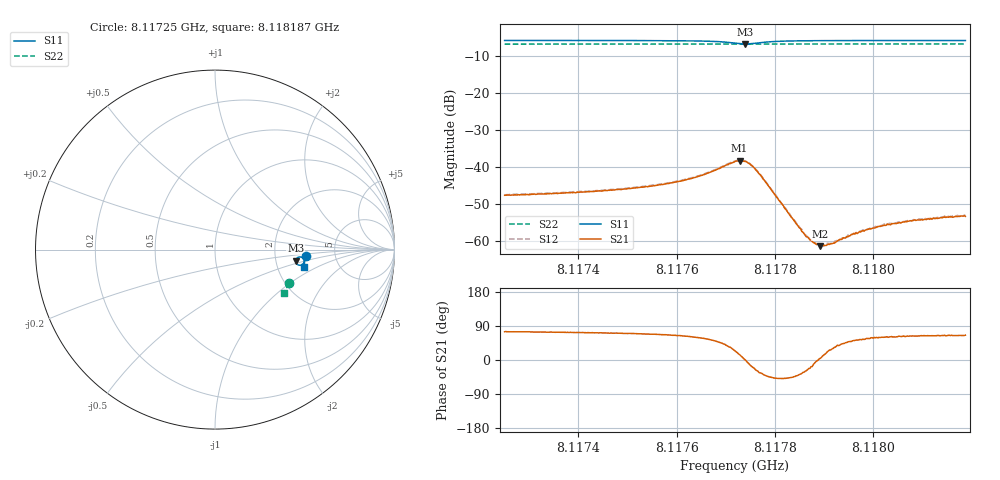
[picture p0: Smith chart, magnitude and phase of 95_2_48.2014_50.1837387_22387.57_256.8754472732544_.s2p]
#  HZ  S  RI  R  50.00
! Rohde & Schwarz Vector Network Analyzer
! Rohde-Schwarz,ZNB20-2Port,1311601062101988,3.16
! Created: UTC 3/20/2024, 11:40:15 AM
! freq[Hz]  re:S11  im:S11  re:S21  im:S21  re:S12  im:S12  re:S22  im:S22
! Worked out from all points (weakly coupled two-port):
!   401 points, 8.11725 GHz to 8.118187 GHz, reference 50 ohm
!   highest |S21| = -38.35 dB at 8.117728 GHz (marker M1); lowest = -61.5 dB at 8.117892 GHz (marker M2)
!   lowest |S11| = -6.9 dB at 8.11774 GHz (marker M3), VSWR 2.66, Z = 129 - j20 ohm
!   |S11| at or under -10 dB: nowhere
!   |S22| runs from -6.9 to -6.9 dB; largest |S21 - S12| = 0.00051
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8.11725e9  0.5043 -0.0367  0.0011 0.00397  0.00116 0.00403  0.4113 -0.186
8.117407e9  0.5025 -0.0504  0.00138 0.00433  0.00146 0.00438  0.4071 -0.196
8.1174914e9  0.5009 -0.0585  0.0017 0.00469  0.00176 0.00474  0.4045 -0.2016
8.117564e9  0.4985 -0.0668  0.00218 0.00526  0.0023 0.00532  0.4023 -0.2063
8.1176109e9  0.4955 -0.0732  0.00287 0.0058  0.00296 0.00587  0.4007 -0.2094
8.1176414e9  0.4918 -0.0784  0.00368 0.00632  0.00383 0.0064  0.3999 -0.2114
8.1176742e9  0.484 -0.0844  0.00538 0.00685  0.00556 0.00693  0.3984 -0.2136
8.1177187e9  0.458 -0.0819  0.0108 0.00486  0.0109 0.00476  0.3958 -0.2157
8.1177281e9  0.452 -0.0747  0.0117 0.00295  0.0119 0.00291  0.3956 -0.2159
8.1177398e9  0.4496 -0.0615  0.0118 -1.32e-07  0.0119 -0.000209  0.3952 -0.216
8.1177539e9  0.4568 -0.047  0.00969 -0.00322  0.00981 -0.00324  0.3953 -0.2164
8.1177679e9  0.4689 -0.0411  0.00668 -0.00443  0.00691 -0.00452  0.3955 -0.2169
8.1178593e9  0.497 -0.0605  0.00105 -0.000659  0.00104 -0.000699  0.3936 -0.2236
8.1178757e9  0.4977 -0.0633  0.000934 -0.000292  0.000956 -0.000263  0.3933 -0.2246
8.1178921e9  0.4981 -0.0661  0.000843 6.66e-05  0.000865 7.91e-05  0.3927 -0.2259
8.1178991e9  0.4982 -0.0671  0.000835 0.000193  0.000829 0.000193  0.3926 -0.2262
8.1179155e9  0.4984 -0.0694  0.000801 0.000438  0.000811 0.000438  0.3919 -0.2273
8.1179601e9  0.4984 -0.0748  0.000784 0.000979  0.000829 0.000936  0.3905 -0.2302
8.1179999e9  0.498 -0.0792  0.000796 0.00126  0.000812 0.00128  0.3891 -0.2327
8.1180327e9  0.4978 -0.0826  0.000805 0.00145  0.000845 0.00149  0.3881 -0.2347
8.1180796e9  0.4972 -0.087  0.000827 0.00167  0.00084 0.00169  0.3865 -0.2376
8.1181874e9  0.4957 -0.0962  0.000886 0.00194  0.000968 0.00202  0.3826 -0.2442
